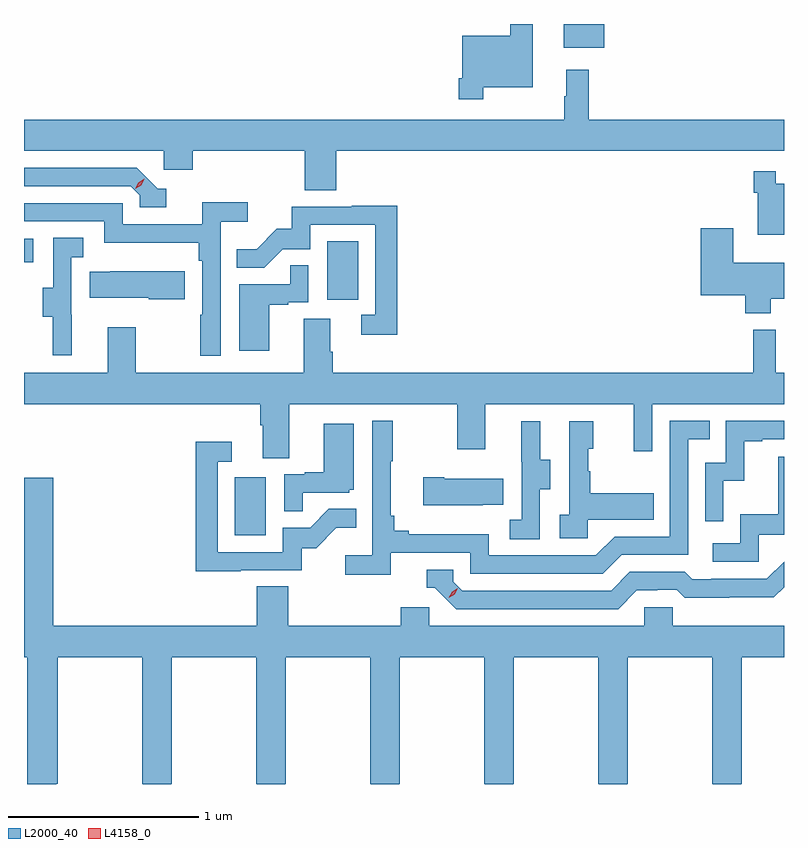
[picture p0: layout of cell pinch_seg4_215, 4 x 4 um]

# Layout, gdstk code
import gdstk
lib = gdstk.Library(unit=1e-6, precision=1e-09)
def R(c, l, rs):  # rectangles x0, y0, x1, y1
    for r in rs: c.add(gdstk.rectangle(r[:2], r[2:], *l))
def P(c, l, *ps):  # polygons
    for p in ps: c.add(gdstk.Polygon(p, *l))
L2000_40 = (2000, 40)
L4158_0 = (4158, 0)

pinch_seg4_215 = lib.new_cell('pinch_seg4_215')
R(pinch_seg4_215, L2000_40, [(986.276,821.436,986.44,821.743), (986.762,822.678,986.926,822.985), (985.167,822.875,985.216,822.999), (988.007,824.003,988.222,824.128)])
P(pinch_seg4_215, L2000_40, [(987.583,823.796),(987.844,823.796),(987.844,824.128),(987.727,824.128),(987.727,824.065),(987.474,824.065),(987.474,823.843),(987.454,823.843),(987.454,823.731),(987.583,823.731)],
  [(986.81,823.46),(989.167,823.46),(989.167,823.624),(988.139,823.624),(988.139,823.888),(988.022,823.888),(988.022,823.748),(988.011,823.748),(988.011,823.624),(985.167,823.624),(985.167,823.46),(985.902,823.46),(985.902,823.362),(986.054,823.362),(986.054,823.46),(986.645,823.46),(986.645,823.252),(986.81,823.252)],
  [(985.915,823.26),(985.872,823.26),(985.761,823.371),(985.167,823.371),(985.167,823.275),(985.728,823.275),(985.776,823.227),(985.776,823.164),(985.915,823.164)],
  [(989.167,823.288),(989.124,823.288),(989.124,823.354),(989.008,823.354),(989.008,823.241),(989.028,823.241),(989.028,823.019),(989.167,823.019)],
  [(986.202,823.088),(986.344,823.088),(986.344,823.19),(986.105,823.19),(986.105,823.074),(985.686,823.074),(985.686,823.185),(985.167,823.185),(985.167,823.089),(985.59,823.089),(985.59,822.977),(986.086,822.977),(986.086,822.881),(986.106,822.881),(986.106,822.599),(986.094,822.599),(986.094,822.381),(986.202,822.381)],
  [(987.131,823.172),(986.893,823.172),(986.893,823.167),(986.575,823.167),(986.575,823.05),(986.498,823.05),(986.391,822.943),(986.287,822.943),(986.287,822.844),(986.431,822.844),(986.529,822.942),(986.673,822.942),(986.673,823.071),(987.015,823.071),(987.015,822.597),(986.943,822.597),(986.943,822.492),(987.131,822.492)],
  [(989.098,822.683),(989.167,822.683),(989.167,822.871),(988.9,822.871),(988.9,823.054),(988.73,823.054),(988.73,822.701),(988.964,822.701),(988.964,822.605),(989.098,822.605)],
  [(985.418,822.597),(985.416,822.597),(985.416,822.901),(985.48,822.901),(985.48,823.004),(985.32,823.004),(985.32,822.741),(985.265,822.741),(985.265,822.586),(985.319,822.586),(985.319,822.384),(985.418,822.384)],
  [(986.458,822.651),(986.558,822.651),(986.558,822.663),(986.664,822.663),(986.664,822.857),(986.569,822.857),(986.569,822.759),(986.3,822.759),(986.3,822.408),(986.458,822.408)],
  [(986.014,822.826),(985.621,822.826),(985.621,822.823),(985.513,822.823),(985.513,822.686),(985.823,822.686),(985.823,822.679),(986.014,822.679)],
  [(985.607,822.532),(985.607,822.292),(985.167,822.292),(985.167,822.128),(986.411,822.128),(986.411,822.016),(986.423,822.016),(986.423,821.842),(986.563,821.842),(986.563,822.128),(987.448,822.128),(987.448,821.889),(987.595,821.889),(987.595,822.128),(988.376,822.128),(988.376,821.88),(988.473,821.88),(988.473,822.128),(989.167,822.128),(989.167,822.292),(989.123,822.292),(989.123,822.52),(989.005,822.52),(989.005,822.292),(986.792,822.292),(986.792,822.404),(986.779,822.404),(986.779,822.578),(986.639,822.578),(986.639,822.292),(985.755,822.292),(985.755,822.532)],
  [(987.098,821.346),(987.516,821.346),(987.516,821.235),(988.213,821.235),(988.312,821.334),(988.662,821.334),(988.662,821.943),(988.775,821.943),(988.775,822.039),(988.566,822.039),(988.566,821.43),(988.275,821.43),(988.176,821.331),(987.612,821.331),(987.612,821.443),(987.193,821.443),(987.193,821.462),(987.116,821.462),(987.116,821.539),(987.097,821.539),(987.097,821.827),(987.109,821.827),(987.109,822.04),(987,822.04),(987,821.332),(986.859,821.332),(986.859,821.23),(987.098,821.23)],
  [(988.848,821.723),(988.958,821.723),(988.958,821.931),(989.053,821.931),(989.053,821.943),(989.167,821.943),(989.167,822.039),(988.86,822.039),(988.86,821.82),(988.752,821.82),(988.752,821.511),(988.848,821.511)],
  [(987.882,821.68),(987.937,821.68),(987.937,821.835),(987.883,821.835),(987.883,822.037),(987.785,822.037),(987.785,821.823),(987.786,821.823),(987.786,821.519),(987.723,821.519),(987.723,821.416),(987.882,821.416)],
  [(988.134,821.519),(988.481,821.519),(988.481,821.659),(988.147,821.659),(988.147,821.774),(988.137,821.774),(988.137,821.892),(988.162,821.892),(988.162,822.037),(988.038,822.037),(988.038,821.546),(987.987,821.546),(987.987,821.421),(988.134,821.421)],
  [(986.633,821.661),(986.88,821.661),(986.88,821.676),(986.902,821.676),(986.902,822.025),(986.744,822.025),(986.744,821.77),(986.645,821.77),(986.645,821.757),(986.538,821.757),(986.538,821.563),(986.633,821.563)],
  [(986.309,821.253),(986.628,821.253),(986.628,821.37),(986.704,821.37),(986.811,821.477),(986.915,821.477),(986.915,821.576),(986.771,821.576),(986.673,821.478),(986.529,821.478),(986.529,821.349),(986.187,821.349),(986.187,821.823),(986.26,821.823),(986.26,821.929),(986.071,821.929),(986.071,821.248),(986.309,821.248)],
  [(989.034,821.439),(989.167,821.439),(989.167,821.851),(989.137,821.851),(989.137,821.548),(988.938,821.548),(988.938,821.394),(988.791,821.394),(988.791,821.298),(989.034,821.298)],
  [(987.581,821.597),(987.689,821.597),(987.689,821.734),(987.379,821.734),(987.379,821.742),(987.267,821.742),(987.267,821.594),(987.581,821.594)],
  [(985.337,820.129),(985.344,820.129),(985.344,820.796),(985.789,820.796),(985.789,820.129),(985.791,820.129),(985.791,820.128),(985.941,820.128),(985.941,820.129),(985.944,820.129),(985.944,820.796),(986.389,820.796),(986.389,820.129),(986.391,820.129),(986.391,820.128),(986.541,820.128),(986.541,820.129),(986.544,820.129),(986.544,820.796),(986.989,820.796),(986.989,820.129),(986.991,820.129),(986.991,820.128),(987.141,820.128),(987.141,820.129),(987.144,820.129),(987.144,820.796),(987.589,820.796),(987.589,820.129),(987.591,820.129),(987.591,820.128),(987.741,820.128),(987.741,820.129),(987.744,820.129),(987.744,820.796),(988.189,820.796),(988.189,820.129),(988.191,820.129),(988.191,820.128),(988.341,820.128),(988.341,820.129),(988.344,820.129),(988.344,820.796),(988.789,820.796),(988.789,820.129),(988.791,820.129),(988.791,820.128),(988.941,820.128),(988.941,820.129),(988.944,820.129),(988.944,820.796),(989.167,820.796),(989.167,820.96),(988.581,820.96),(988.581,821.058),(988.431,821.058),(988.431,820.96),(987.3,820.96),(987.3,821.058),(987.149,821.058),(987.149,820.96),(986.558,820.96),(986.558,821.168),(986.393,821.168),(986.393,820.96),(985.322,820.96),(985.322,821.74),(985.167,821.74),(985.167,820.796),(985.184,820.796),(985.184,820.128),(985.337,820.128)],
  [(988.393,821.148),(988.5,821.148),(988.5,821.151),(988.603,821.151),(988.645,821.109),(988.878,821.109),(988.878,821.111),(989.114,821.111),(989.167,821.164),(989.167,821.299),(989.076,821.208),(988.783,821.208),(988.783,821.205),(988.684,821.205),(988.645,821.244),(988.356,821.244),(988.257,821.145),(987.474,821.145),(987.426,821.193),(987.426,821.256),(987.287,821.256),(987.287,821.16),(987.33,821.16),(987.441,821.049),(988.294,821.049)])
P(pinch_seg4_215, L4158_0, [(985.753,823.26),(985.753,823.261),(985.769,823.293),(985.799,823.313),(985.8,823.313),(985.8,823.312),(985.784,823.28),(985.753,823.26)],
  [(987.403,821.107),(987.403,821.107),(987.42,821.14),(987.451,821.159),(987.451,821.159),(987.451,821.158),(987.434,821.126),(987.403,821.107)])

lib.write_gds('pinch_seg4_215.gds')
